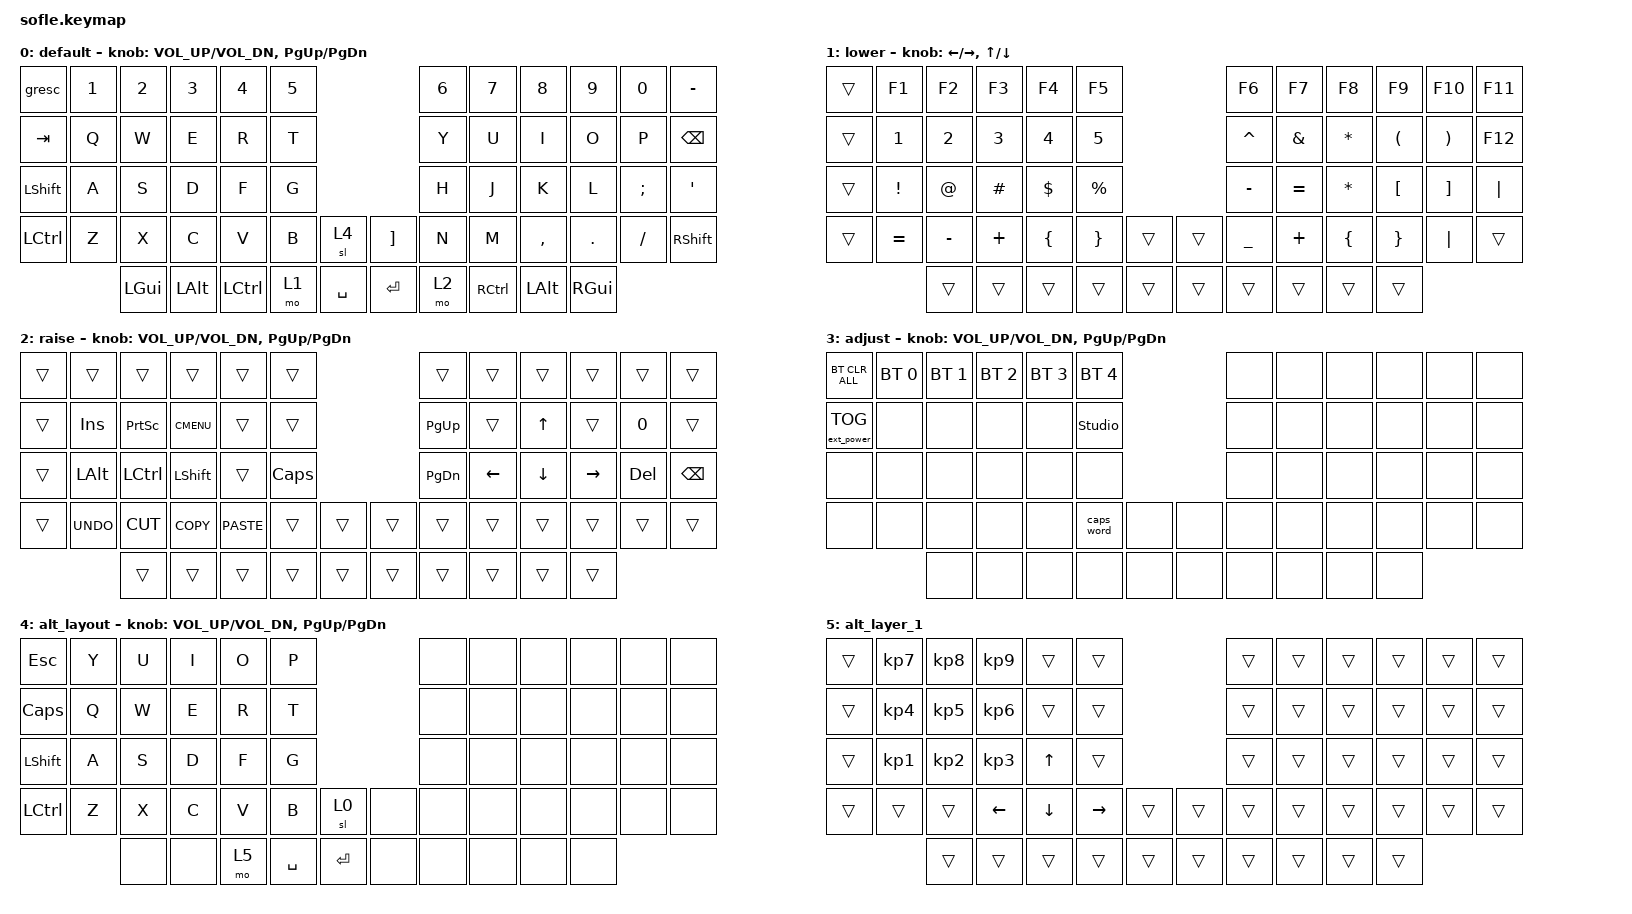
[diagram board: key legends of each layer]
/*
 * Copyright (c) 2020 The ZMK Contributors
 *
 * SPDX-License-Identifier: MIT
 */

#include <behaviors.dtsi>
#include <dt-bindings/zmk/bt.h>
#include <dt-bindings/zmk/ext_power.h>
#include <dt-bindings/zmk/keys.h>

#define BASE 0
#define LOWER 1
#define RAISE 2
#define ADJUST 3
#define extra_layer 4

/ {
    // Activate ADJUST layer by pressing raise and lower

    conditional_layers {
        compatible = "zmk,conditional-layers";

        adjust_layer {
            if-layers = <1 2>;
            then-layer = <3>;
        };
    };

    combos {
        compatible = "zmk,combos";

        backspace {
            bindings = <&kp BACKSPACE>;
            key-positions = <32 31>;
        };

        delete {
            bindings = <&kp DELETE>;
            key-positions = <27 33>;
        };

        esc {
            bindings = <&kp ESCAPE>;
            key-positions = <25 41>;
        };
    };

    behaviors {
        caps: caps {
            compatible = "zmk,behavior-caps-word";
            label = "CAPS";
            #binding-cells = <0>;
            continue-list = <POUND MINUS BACKSPACE UNDERSCORE>;
        };
    };

    keymap {
        compatible = "zmk,keymap";

        default_layer {
            display-name = "default";

            // ------------------------------------------------------------------------------------------------------------
            // |   `   |  1  |  2  |  3   |  4   |  5   |                   |  6   |  7    |  8    |  9   |   0   |       |
            // |  ESC  |  Q  |  W  |  E   |  R   |  T   |                   |  Y   |  U    |  I    |  O   |   P   | BKSPC |
            // |  TAB  |  A  |  S  |  D   |  F   |  G   |                   |  H   |  J    |  K    |  L   |   ;   |   '   |
            // | SHIFT |  Z  |  X  |  C   |  V   |  B   |  MUTE  |  |       |  N   |  M    |  ,    |  .   |   /   | SHIFT |
            //               | GUI | ALT  | CTRL | LOWER|  ENTER |  | SPACE | RAISE| CTRL  | ALT   | GUI  |

            bindings = <
&gresc            &kp N1  &kp N2    &kp N3    &kp N4     &kp N5                          &kp N6  &kp N7     &kp N8     &kp N9    &kp N0    &kp MINUS
&kp TAB           &kp Q   &kp W     &kp E     &kp R      &kp T                           &kp Y   &kp U      &kp I      &kp O     &kp P     &kp BSPC
&kp LEFT_SHIFT    &kp A   &kp S     &kp D     &kp F      &kp G                           &kp H   &kp J      &kp K      &kp L     &kp SEMI  &kp SQT
&kp LEFT_CONTROL  &kp Z   &kp X     &kp C     &kp V      &kp B   &sl 4        &kp RBKT   &kp N   &kp M      &kp COMMA  &kp DOT   &kp FSLH  &kp RSHFT
                          &kp LGUI  &kp LALT  &kp LCTRL  &mo 1   &kp SPACE    &kp ENTER  &mo 2   &kp RCTRL  &kp LALT   &kp RGUI
            >;

            sensor-bindings = <&inc_dec_kp C_VOL_UP C_VOL_DN &inc_dec_kp PG_UP PG_DN>;
        };

        lower_layer {
            display-name = "lower";

            // TODO: Some binds are waiting for shifted keycode support.
            // ------------------------------------------------------------------------------------------------------------
            // |       |  F1 |  F2 |  F3  |  F4  |  F5  |                   |  F6  |  F7   |  F8   |  F9  |  F10  |  F11  |
            // |   `   |  1  |  2  |  3   |  4   |  5   |                   |  6   |  7    |  8    |  9   |   0   |  F12  |
            // |       |  !  |  @  |  #   |  $   |  %   |                   |  ^   |  &    |  *    |  (   |   )   |   |   |
            // |       |  =  |  -  |  +   |  {   |  }   |        |  |       |  [   |  ]    |  ;    |  :   |   \   |       |
            //               |     |      |      |      |        |  |       |      |       |       |      |

            bindings = <
&trans  &kp F1     &kp F2     &kp F3    &kp F4    &kp F5                       &kp F6          &kp F7         &kp F8          &kp F9                &kp F10                &kp F11
&trans  &kp N1     &kp N2     &kp N3    &kp N4    &kp N5                       &kp CARET       &kp AMPERSAND  &kp ASTRK       &kp LEFT_PARENTHESIS  &kp RIGHT_PARENTHESIS  &kp F12
&trans  &kp EXCL   &kp AT     &kp HASH  &kp DLLR  &kp PRCNT                    &kp MINUS       &kp EQUAL      &kp ASTRK       &kp LEFT_BRACKET      &kp RIGHT_BRACKET      &kp PIPE
&trans  &kp EQUAL  &kp MINUS  &kp PLUS  &kp LBRC  &kp RBRC   &trans    &trans  &kp UNDERSCORE  &kp PLUS       &kp LEFT_BRACE  &kp RIGHT_BRACE       &kp PIPE               &trans
                   &trans     &trans    &trans    &trans     &trans    &trans  &trans          &trans         &trans          &trans
            >;

            sensor-bindings =
                <&inc_dec_kp LEFT_ARROW RIGHT_ARROW>,
                <&inc_dec_kp UP_ARROW DOWN_ARROW>;
        };

        raise_layer {
            display-name = "raise";

            // ------------------------------------------------------------------------------------------------------------
            // | BTCLR | BT1  | BT2  |  BT3  |  BT4  |  BT5 |                |      |      |       |      |       |       |
            // |       | INS  | PSCR | GUI   |       |      |                | PGUP |      |   ^   |      |       |       |
            // |       | ALT  | CTRL | SHIFT |       | CAPS |                | PGDN |   <- |   v   |  ->  |  DEL  | BKSPC |
            // |       | UNDO | CUT  | COPY  | PASTE |      |      |  |      |      |      |       |      |       |       |
            //                |      |       |       |      |      |  |      |      |      |       |      |

            bindings = <
&trans  &trans      &trans     &trans       &trans       &trans                      &trans     &trans    &trans    &trans     &trans   &trans
&trans  &kp INS     &kp PSCRN  &kp K_CMENU  &trans       &trans                      &kp PG_UP  &trans    &kp UP    &trans     &kp N0   &trans
&trans  &kp LALT    &kp LCTRL  &kp LSHFT    &trans       &kp CLCK                    &kp PG_DN  &kp LEFT  &kp DOWN  &kp RIGHT  &kp DEL  &kp BSPC
&trans  &kp K_UNDO  &kp K_CUT  &kp K_COPY   &kp K_PASTE  &trans    &trans    &trans  &trans     &trans    &trans    &trans     &trans   &trans
                    &trans     &trans       &trans       &trans    &trans    &trans  &trans     &trans    &trans    &trans
            >;

            sensor-bindings = <&inc_dec_kp C_VOL_UP C_VOL_DN &inc_dec_kp PG_UP PG_DN>;
        };

        adjust_layer {
            // ----------------------------------------------------------------------------------------------------------------------------
            // | BTCLR  |  BT1    |  BT2    |   BT3   |   BT4   |   BT5   |                  |      |      |       |      |       |       |
            // | EXTPWR | RGB_HUD | RGB_HUI | RGB_SAD | RGB_SAI | RGB_EFF |                  |      |      |       |      |       |       |
            // |        | RGB_BRD | RGB_BRI |         |         |         |                  |      |      |       |      |       |       |
            // |        |         |         |         |         |         | RGB_TOG | |      |      |      |       |      |       |       |
            //                    |         |         |         |         |         | |      |      |      |       |      |

            display-name = "adjust";
            bindings = <
&bt BT_CLR_ALL     &bt BT_SEL 0  &bt BT_SEL 1  &bt BT_SEL 2  &bt BT_SEL 3  &bt BT_SEL 4                    &none  &none  &none  &none  &none  &none
&ext_power EP_TOG  &none         &none         &none         &none         &studio_unlock                  &none  &none  &none  &none  &none  &none
&none              &none         &none         &none         &none         &none                           &none  &none  &none  &none  &none  &none
&none              &none         &none         &none         &none         &caps_word      &none    &none  &none  &none  &none  &none  &none  &none
                                 &none         &none         &none         &none           &none    &none  &none  &none  &none  &none
            >;

            sensor-bindings = <&inc_dec_kp C_VOL_UP C_VOL_DN &inc_dec_kp PG_UP PG_DN>;
        };

        alternative_layout {
            // ----------------------------------------------------------------------------------------------------------------------------
            // | BTCLR  |  BT1    |  BT2    |   BT3   |   BT4   |   BT5   |                  |      |      |       |      |       |       |
            // | EXTPWR | RGB_HUD | RGB_HUI | RGB_SAD | RGB_SAI | RGB_EFF |                  |      |      |       |      |       |       |
            // |        | RGB_BRD | RGB_BRI |         |         |         |                  |      |      |       |      |       |       |
            // |        |         |         |         |         |         | RGB_TOG | |      |      |      |       |      |       |       |
            //                    |         |         |         |         |         | |      |      |      |       |      |

            display-name = "alt_layout";
            bindings = <
&kp ESC         &kp Y  &kp U  &kp I  &kp O  &kp P                          &none  &none  &none  &none  &none  &none
&kp CAPS        &kp Q  &kp W  &kp E  &kp R  &kp T                          &none  &none  &none  &none  &none  &none
&kp LEFT_SHIFT  &kp A  &kp S  &kp D  &kp F  &kp G                          &none  &none  &none  &none  &none  &none
&kp LCTRL       &kp Z  &kp X  &kp C  &kp V  &kp B      &sl 0        &none  &none  &none  &none  &none  &none  &none
                       &none  &none  &mo 5  &kp SPACE  &kp ENTER    &none  &none  &none  &none  &none
            >;

            sensor-bindings = <&inc_dec_kp C_VOL_UP C_VOL_DN &inc_dec_kp PG_UP PG_DN>;
        };

        alt_layer_1 {
            bindings = <
&trans  &kp KP_NUMBER_7  &kp KP_NUMBER_8  &kp KP_NUMBER_9  &trans        &trans                       &trans  &trans  &trans  &trans  &trans  &trans
&trans  &kp KP_NUMBER_4  &kp KP_NUMBER_5  &kp KP_NUMBER_6  &trans        &trans                       &trans  &trans  &trans  &trans  &trans  &trans
&trans  &kp KP_NUMBER_1  &kp KP_NUMBER_2  &kp KP_NUMBER_3  &kp UP_ARROW  &trans                       &trans  &trans  &trans  &trans  &trans  &trans
&trans  &trans           &trans           &kp LEFT         &kp DOWN      &kp RIGHT  &trans    &trans  &trans  &trans  &trans  &trans  &trans  &trans
                         &trans           &trans           &trans        &trans     &trans    &trans  &trans  &trans  &trans  &trans
            >;
        };
    };
};
